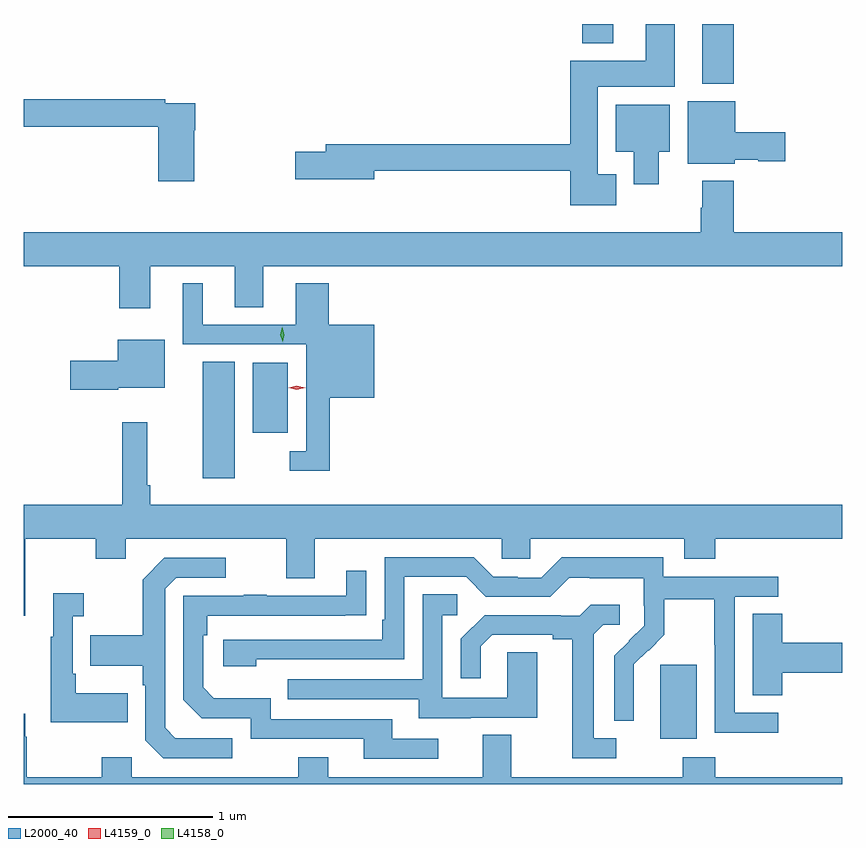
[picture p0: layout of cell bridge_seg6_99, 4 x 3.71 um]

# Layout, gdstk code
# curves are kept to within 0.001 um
import gdstk
lib = gdstk.Library(unit=1e-6, precision=1e-09)
def R(c, l, rs):  # rectangles x0, y0, x1, y1
    for r in rs: c.add(gdstk.rectangle(r[:2], r[2:], *l))
def P(c, l, *ps):  # polygons
    for p in ps: c.add(gdstk.Polygon(p, *l))
L2000_40 = (2000, 40)
L4158_0 = (4158, 0)
L4159_0 = (4159, 0)

bridge_seg6_99 = lib.new_cell('bridge_seg6_99')
R(bridge_seg6_99, L2000_40, [(780.284,915.722,780.463,916.083), (778.049,916.995,778.204,917.564), (778.292,917.216,778.465,917.56), (780.491,918.923,780.644,919.215), (779.903,919.121,780.055,919.215)])
P(bridge_seg6_99, L2000_40, [(780.07,918.481),(779.98,918.481),(779.98,918.908),(780.355,918.908),(780.355,919.215),(780.215,919.215),(780.215,919.036),(779.846,919.036),(779.846,918.626),(778.649,918.626),(778.649,918.59),(778.5,918.59),(778.5,918.455),(778.888,918.455),(778.888,918.498),(779.846,918.498),(779.846,918.329),(780.07,918.329)],
  [(778.008,918.695),(778.013,918.695),(778.013,918.828),(777.866,918.828),(777.866,918.848),(777.174,918.848),(777.174,918.712),(777.83,918.712),(777.83,918.447),(778.008,918.447)],
  [(780.648,918.551),(780.765,918.551),(780.765,918.544),(780.895,918.544),(780.895,918.686),(780.652,918.686),(780.652,918.838),(780.419,918.838),(780.419,918.533),(780.648,918.533)],
  [(780.277,918.59),(780.331,918.59),(780.331,918.82),(780.068,918.82),(780.068,918.59),(780.155,918.59),(780.155,918.432),(780.277,918.432)],
  [(777.793,918.032),(778.205,918.032),(778.205,917.83),(778.345,917.83),(778.345,918.032),(781.174,918.032),(781.174,918.196),(780.644,918.196),(780.644,918.448),(780.491,918.448),(780.491,918.317),(780.484,918.317),(780.484,918.196),(777.174,918.196),(777.174,918.032),(777.641,918.032),(777.641,917.826),(777.793,917.826)],
  [(778.67,917.387),(778.888,917.387),(778.888,917.746),(778.664,917.746),(778.664,917.947),(778.502,917.947),(778.502,917.745),(778.048,917.745),(778.048,917.947),(777.95,917.947),(777.95,917.649),(778.554,917.649),(778.554,917.127),(778.473,917.127),(778.473,917.03),(778.67,917.03)],
  [(777.636,917.438),(777.862,917.438),(777.862,917.671),(777.632,917.671),(777.632,917.568),(777.402,917.568),(777.402,917.426),(777.636,917.426)],
  [(777.181,916.7),(777.526,916.7),(777.526,916.601),(777.673,916.601),(777.673,916.7),(778.457,916.7),(778.457,916.506),(778.597,916.506),(778.597,916.7),(779.511,916.7),(779.511,916.602),(779.649,916.602),(779.649,916.7),(780.401,916.7),(780.401,916.601),(780.554,916.601),(780.554,916.7),(781.174,916.7),(781.174,916.864),(777.791,916.864),(777.791,916.96),(777.776,916.96),(777.776,917.269),(777.655,917.269),(777.655,916.864),(777.174,916.864),(777.174,916.323),(777.181,916.323)],
  [(780.862,915.849),(780.648,915.849),(780.648,916.416),(780.862,916.416),(780.862,916.512),(780.3,916.512),(780.3,916.609),(779.803,916.609),(779.703,916.509),(779.588,916.509),(779.588,916.512),(779.469,916.512),(779.373,916.608),(778.938,916.608),(778.938,916.303),(778.925,916.303),(778.925,916.206),(778.149,916.206),(778.149,916.076),(778.31,916.076),(778.31,916.11),(779.034,916.11),(779.034,916.512),(779.337,916.512),(779.433,916.416),(779.748,916.416),(779.841,916.509),(779.941,916.509),(779.941,916.505),(780.204,916.505),(780.204,916.371),(780.206,916.371),(780.206,916.274),(780.06,916.126),(780.06,915.808),(780.156,915.808),(780.155,916.085),(780.225,916.155),(780.228,916.152),(780.305,916.229),(780.305,916.404),(780.55,916.404),(780.55,916.18),(780.552,916.18),(780.552,915.751),(780.862,915.751)],
  [(778.192,915.723),(777.915,915.723),(777.864,915.774),(777.864,916.455),(777.918,916.509),(778.162,916.509),(778.162,916.605),(777.861,916.605),(777.756,916.499),(777.756,916.227),(777.499,916.227),(777.499,916.079),(777.756,916.079),(777.756,915.983),(777.768,915.983),(777.768,915.714),(777.855,915.627),(778.192,915.627)],
  [(779.2,915.72),(778.975,915.72),(778.975,915.816),(778.38,915.816),(778.38,915.919),(778.103,915.919),(778.05,915.972),(778.05,916.226),(778.07,916.226),(778.07,916.323),(778.847,916.324),(778.847,916.543),(778.751,916.543),(778.751,916.419),(778.361,916.419),(778.361,916.424),(778.249,916.424),(778.249,916.419),(777.954,916.419),(777.954,915.912),(778.044,915.822),(778.284,915.822),(778.284,915.72),(778.835,915.72),(778.835,915.624),(779.2,915.624)],
  [(777.683,915.943),(777.427,915.943),(777.427,916.039),(777.414,916.039),(777.414,916.319),(777.466,916.319),(777.466,916.432),(777.317,916.432),(777.317,916.219),(777.306,916.219),(777.306,915.803),(777.683,915.803)],
  [(779.359,915.825),(779.683,915.825),(779.683,916.145),(779.538,916.145),(779.538,915.921),(779.22,915.921),(779.22,916.326),(779.293,916.326),(779.293,916.427),(779.124,916.427),(779.124,916.011),(778.465,916.011),(778.465,915.915),(779.105,915.915),(779.105,915.821),(779.359,915.821)],
  [(780.07,915.723),(779.959,915.723),(779.959,916.231),(780.006,916.278),(780.088,916.278),(780.088,916.375),(779.944,916.375),(779.892,916.323),(779.798,916.323),(779.798,916.326),(779.426,916.326),(779.31,916.21),(779.31,916.017),(779.407,916.017),(779.407,916.173),(779.464,916.23),(779.759,916.23),(779.759,916.208),(779.855,916.208),(779.855,915.627),(780.07,915.627)],
  [(780.881,916.043),(781.174,916.043),(781.174,916.19),(780.881,916.19),(780.881,916.331),(780.737,916.331),(780.737,915.934),(780.881,915.934)],
  [(781.174,915.532),(780.554,915.532),(780.554,915.631),(780.394,915.631),(780.394,915.532),(779.557,915.532),(779.557,915.74),(779.417,915.74),(779.417,915.532),(778.663,915.532),(778.663,915.631),(778.516,915.631),(778.516,915.532),(777.702,915.532),(777.702,915.631),(777.556,915.631),(777.556,915.532),(777.189,915.532),(777.189,915.731),(777.181,915.731),(777.181,915.844),(777.174,915.844),(777.174,915.5),(781.174,915.5)])
P(bridge_seg6_99, L4158_0, [(778.44,917.661),(778.44,917.662),(778.428,917.696),(778.437,917.732),(778.437,917.732),(778.437,917.732),(778.448,917.697),(778.44,917.662)])
P(bridge_seg6_99, L4159_0, [(778.509,917.427),(778.469,917.436),(778.469,917.436),(778.469,917.436),(778.509,917.447),(778.549,917.438),(778.55,917.438),(778.549,917.437)])

lib.write_gds('bridge_seg6_99.gds')
